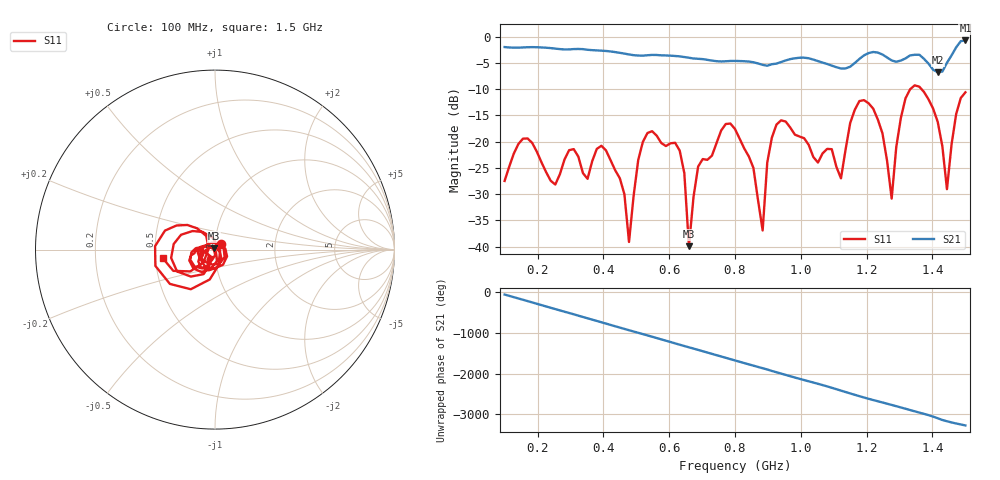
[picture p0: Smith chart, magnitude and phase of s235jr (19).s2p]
! NanoVNA-App
! Date: 2025-09-25 15:04:18
! Start: 100MHz Stop: 1,5GHz Points: 101
! S-Parameter data: F S11 S21 S12 S22
# Hz S RI R 50
!  Frequency  S11_Real  S11_Imag  S21_Real  S21_Imag  S12_Real  S12_Imag  S22_Real  S22_Imag
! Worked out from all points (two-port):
!   101 points, 100 MHz to 1.5 GHz, reference 50 ohm
!   highest |S21| = -0.71 dB at 1.5 GHz (marker M1); lowest = -6.8 dB at 1.416 GHz (marker M2)
!   |S21| within 3 dB of the highest: start of sweep to 625.7 MHz; 1.189 GHz to 1.256 GHz (67.24 MHz wide, 5.5 % of centre) (the widest 2 of 4)
!   lowest |S11| = -39.9 dB at 660 MHz (marker M3), VSWR 1.02, Z = 49.2 + j0.649 ohm
!   |S11| at or under -10 dB: start of sweep to 1.332 GHz; 1.367 GHz to end of sweep
!   S12 and S22 are empty: the file has one direction only
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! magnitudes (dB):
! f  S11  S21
! 100 MHz  -27.5  -2.0
! 156 MHz  -19.4  -2.0
! 338 MHz  -26.0  -2.4
! 408 MHz  -21.7  -2.7
! 478 MHz  -39.1  -3.4
! 520 MHz  -20.0  -3.6
! 576 MHz  -20.3  -3.5
! 632 MHz  -21.7  -3.7
! 660 MHz  -39.9  -4.0
! 688 MHz  -24.7  -4.2
! 800 MHz  -17.6  -4.6
! 884 MHz  -36.9  -5.4
! 898 MHz  -24.0  -5.5
! 926 MHz  -16.7  -5.1
! 1.038 GHz  -22.9  -4.4
! 1.122 GHz  -27.0  -6.0
! 1.192 GHz  -12.1  -3.5
! 1.276 GHz  -30.9  -4.5
! 1.332 GHz  -10.0  -3.6
! 1.416 GHz  -16.2  -6.8
! 1.444 GHz  -29.1  -5.0
! 1.5 GHz  -10.6  -0.7
